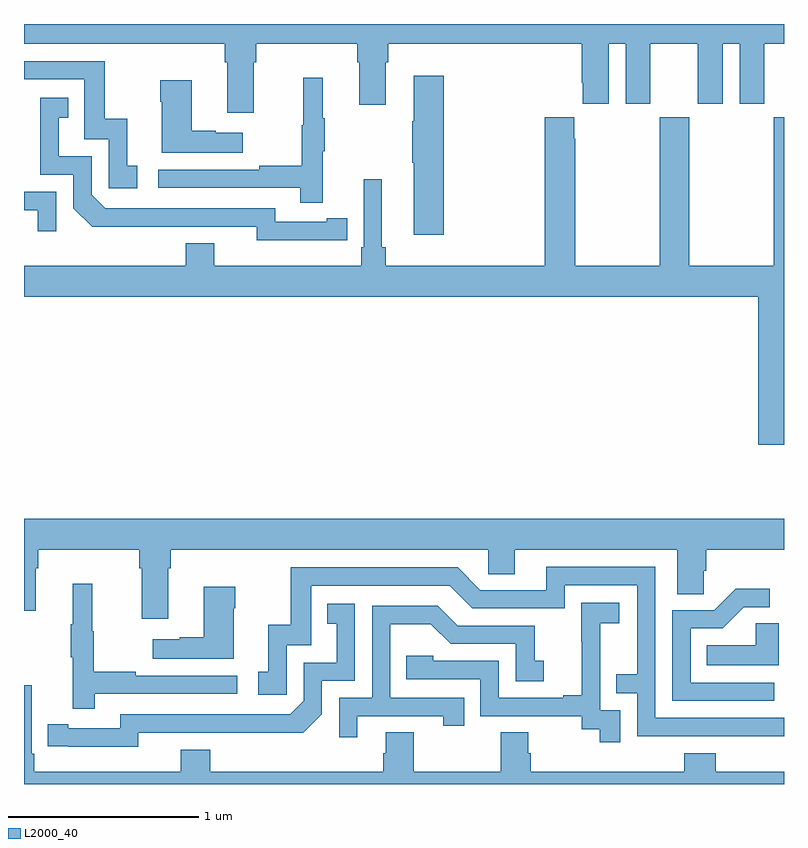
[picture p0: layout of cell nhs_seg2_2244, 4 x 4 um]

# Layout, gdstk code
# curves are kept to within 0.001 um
import gdstk
lib = gdstk.Library(unit=1e-6, precision=1e-09)
def P(c, l, *ps):  # polygons
    for p in ps: c.add(gdstk.Polygon(p, *l))
L2000_40 = (2000, 40)

nhs_seg2_2244 = lib.new_cell('nhs_seg2_2244')
P(nhs_seg2_2244, L2000_40, [(230.209,587.6),(230.222,587.6),(230.222,587.696),(230.753,587.696),(230.753,587.6),(230.765,587.6),(230.765,587.376),(230.905,587.376),(230.905,587.6),(230.918,587.6),(230.918,587.696),(231.935,587.696),(231.935,587.491),(231.941,587.491),(231.941,587.379),(232.078,587.379),(232.078,587.696),(232.166,587.696),(232.166,587.379),(232.297,587.379),(232.297,587.696),(232.547,587.696),(232.547,587.379),(232.678,587.379),(232.678,587.696),(232.766,587.696),(232.766,587.379),(232.897,587.379),(232.897,587.696),(233,587.696),(233,587.8),(229,587.8),(229,587.696),(230.057,587.696),(230.057,587.6),(230.069,587.6),(230.069,587.334),(230.209,587.334)],
  [(229.597,587.055),(229.544,587.055),(229.544,587.302),(229.426,587.302),(229.426,587.604),(229,587.604),(229,587.508),(229.317,587.508),(229.317,587.193),(229.446,587.193),(229.446,586.935),(229.597,586.935)],
  [(231.209,587.527),(231.05,587.527),(231.05,587.288),(231.043,587.288),(231.043,587.071),(231.05,587.071),(231.05,586.692),(231.209,586.692)],
  [(230.573,587.131),(230.584,587.131),(230.584,587.305),(230.573,587.305),(230.573,587.518),(230.47,587.518),(230.47,587.268),(230.463,587.268),(230.463,587.054),(230.239,587.054),(230.239,587.034),(229.707,587.034),(229.707,586.938),(230.455,586.938),(230.455,586.86),(230.573,586.86)],
  [(230.152,587.227),(230.009,587.227),(230.009,587.237),(229.882,587.237),(229.882,587.503),(229.717,587.503),(229.717,587.39),(229.724,587.39),(229.724,587.123),(230.152,587.123)],
  [(230.594,586.662),(230.702,586.662),(230.702,586.778),(230.594,586.778),(230.594,586.758),(230.322,586.758),(230.322,586.83),(229.428,586.83),(229.356,586.902),(229.356,587.103),(229.183,587.103),(229.183,587.307),(229.232,587.307),(229.232,587.413),(229.086,587.413),(229.086,587.007),(229.26,587.007),(229.26,586.83),(229.358,586.733),(230.226,586.734),(230.226,586.661)],
  [(229.85,586.645),(229.85,586.528),(229,586.528),(229,586.364),(232.865,586.364),(232.865,585.585),(233,585.585),(233,587.308),(232.945,587.308),(232.945,586.528),(232.5,586.528),(232.5,587.308),(232.345,587.308),(232.345,586.528),(231.9,586.528),(231.9,587.195),(231.895,587.195),(231.895,587.308),(231.74,587.308),(231.74,586.528),(230.903,586.528),(230.903,586.624),(230.884,586.624),(230.884,586.984),(230.787,586.984),(230.787,586.624),(230.774,586.624),(230.774,586.528),(230.002,586.528),(230.002,586.645)],
  [(229.17,586.917),(229,586.917),(229,586.821),(229.073,586.821),(229.073,586.71),(229.17,586.71)],
  [(229.759,584.936),(229.772,584.936),(229.772,585.032),(231.444,585.032),(231.444,584.905),(231.583,584.905),(231.583,585.032),(232.439,585.032),(232.439,584.8),(232.578,584.8),(232.578,584.923),(232.592,584.923),(232.592,585.032),(233,585.032),(233,585.196),(229,585.196),(229,584.712),(229.063,584.712),(229.063,584.936),(229.076,584.936),(229.076,585.032),(229.607,585.032),(229.607,584.936),(229.619,584.936),(229.619,584.67),(229.759,584.67)],
  [(233,584.148),(232.323,584.148),(232.323,584.943),(231.749,584.943),(231.749,584.82),(231.402,584.82),(231.282,584.94),(230.403,584.94),(230.403,584.638),(230.285,584.638),(230.285,584.391),(230.232,584.391),(230.232,584.271),(230.382,584.271),(230.382,584.529),(230.511,584.529),(230.511,584.844),(231.24,584.844),(231.36,584.724),(231.846,584.724),(231.846,584.847),(232.227,584.847),(232.227,584.378),(232.117,584.378),(232.117,584.277),(232.227,584.277),(232.227,584.052),(233,584.051)],
  [(229.373,584.274),(230.122,584.274),(230.122,584.37),(229.589,584.37),(229.589,584.39),(229.366,584.39),(229.366,584.604),(229.358,584.604),(229.358,584.854),(229.256,584.854),(229.256,584.641),(229.245,584.641),(229.245,584.467),(229.256,584.467),(229.256,584.196),(229.373,584.196)],
  [(230.104,584.726),(230.112,584.726),(230.112,584.839),(229.946,584.839),(229.946,584.573),(229.82,584.573),(229.82,584.563),(229.677,584.563),(229.677,584.459),(230.104,584.459)],
  [(232.948,584.334),(232.509,584.334),(232.509,584.619),(232.678,584.619),(232.789,584.73),(232.924,584.73),(232.924,584.828),(232.745,584.828),(232.632,584.715),(232.413,584.715),(232.413,584.238),(232.948,584.238)],
  [(232.137,584.187),(232.032,584.187),(232.032,584.417),(232.034,584.417),(232.034,584.645),(232.132,584.645),(232.132,584.755),(231.934,584.755),(231.934,584.549),(231.935,584.549),(231.935,584.266),(231.839,584.266),(231.839,584.253),(231.498,584.253),(231.498,584.448),(231.153,584.448),(231.153,584.475),(231.013,584.475),(231.013,584.352),(231.402,584.352),(231.402,584.157),(231.936,584.157),(231.936,584.089),(232.029,584.089),(232.029,584.019),(232.137,584.019)],
  [(229.602,584.07),(230.47,584.069),(230.568,584.166),(230.568,584.343),(230.742,584.343),(230.742,584.749),(230.596,584.749),(230.596,584.643),(230.645,584.643),(230.645,584.439),(230.472,584.439),(230.472,584.238),(230.4,584.166),(229.506,584.166),(229.506,584.094),(229.234,584.094),(229.234,584.114),(229.126,584.114),(229.126,583.998),(229.602,583.997)],
  [(230.755,584.157),(231.206,584.157),(231.206,584.106),(231.317,584.106),(231.317,584.253),(230.928,584.253),(230.928,584.642),(231.142,584.642),(231.246,584.538),(231.588,584.538),(231.588,584.34),(231.736,584.34),(231.736,584.449),(231.687,584.449),(231.687,584.634),(231.283,584.634),(231.178,584.739),(230.832,584.739),(230.832,584.253),(230.658,584.253),(230.658,584.046),(230.755,584.046)],
  [(232.972,584.645),(232.851,584.645),(232.851,584.53),(232.594,584.53),(232.594,584.426),(232.972,584.426)],
  [(233,583.864),(232.64,583.864),(232.64,583.963),(232.475,583.963),(232.475,583.864),(231.668,583.864),(231.668,583.962),(231.655,583.962),(231.655,584.072),(231.508,584.072),(231.508,583.864),(231.051,583.864),(231.051,584.072),(230.903,584.072),(230.903,583.962),(230.891,583.962),(230.891,583.864),(229.979,583.864),(229.979,583.981),(229.826,583.981),(229.826,583.864),(229.055,583.864),(229.055,583.96),(229.041,583.96),(229.041,584.32),(229,584.32),(229,583.8),(233,583.8)])

lib.write_gds('nhs_seg2_2244.gds')
